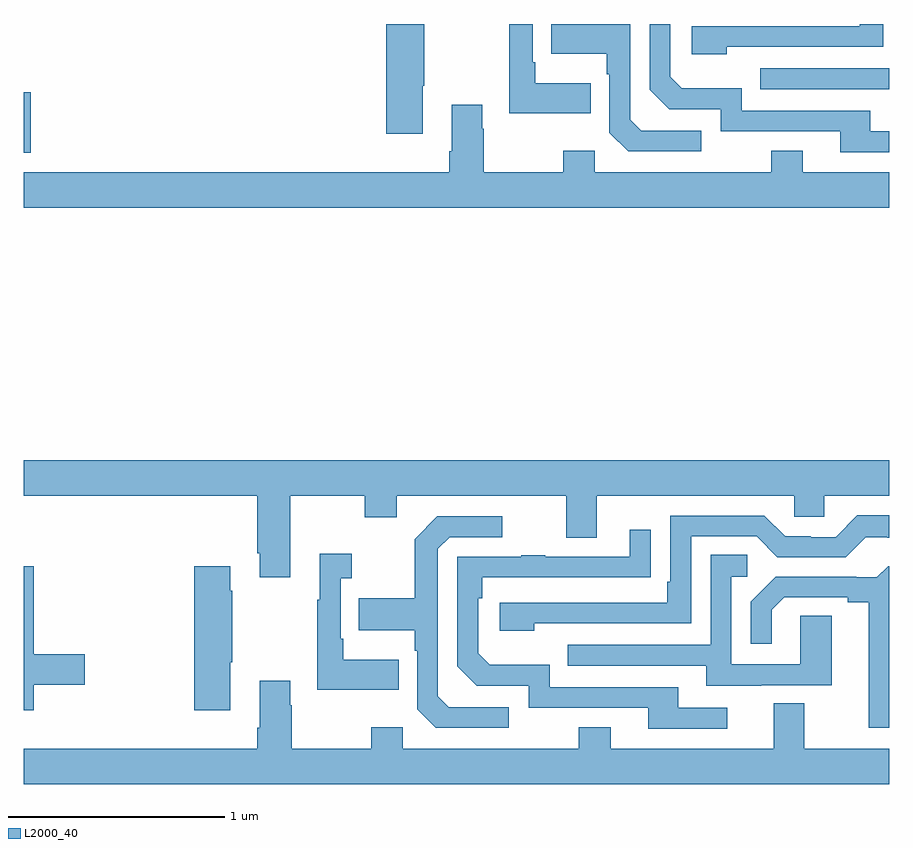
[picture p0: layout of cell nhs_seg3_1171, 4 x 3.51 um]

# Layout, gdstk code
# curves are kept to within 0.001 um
import gdstk
lib = gdstk.Library(unit=1e-6, precision=1e-09)
def R(c, l, rs):  # rectangles x0, y0, x1, y1
    for r in rs: c.add(gdstk.rectangle(r[:2], r[2:], *l))
def P(c, l, *ps):  # polygons
    for p in ps: c.add(gdstk.Polygon(p, *l))
L2000_40 = (2000, 40)

nhs_seg3_1171 = lib.new_cell('nhs_seg3_1171')
R(nhs_seg3_1171, L2000_40, [(171,731.805,171.032,732.084), (174.403,732.099,175,732.195)])
P(nhs_seg3_1171, L2000_40, [(173.621,732.127),(173.365,732.127),(173.365,732.223),(173.352,732.223),(173.352,732.4),(173.244,732.4),(173.244,731.987),(173.621,731.987)],
  [(172.843,732.115),(172.851,732.115),(172.851,732.4),(172.676,732.4),(172.676,731.892),(172.843,731.892)],
  [(175,731.904),(174.913,731.904),(174.913,732),(174.318,732),(174.318,732.103),(174.041,732.103),(173.988,732.156),(173.988,732.4),(173.892,732.4),(173.892,732.096),(173.982,732.006),(174.222,732.006),(174.222,731.904),(174.773,731.904),(174.773,731.808),(175,731.808)],
  [(174.13,731.907),(173.853,731.907),(173.802,731.958),(173.802,732.4),(173.437,732.4),(173.437,732.263),(173.694,732.263),(173.694,732.167),(173.706,732.167),(173.706,731.898),(173.793,731.811),(174.13,731.811)],
  [(174.248,732.294),(174.972,732.294),(174.972,732.4),(174.863,732.4),(174.863,732.39),(174.087,732.39),(174.087,732.26),(174.248,732.26)],
  [(175,731.716),(174.601,731.716),(174.601,731.815),(174.454,731.815),(174.454,731.716),(173.64,731.716),(173.64,731.815),(173.494,731.815),(173.494,731.716),(173.127,731.716),(173.127,731.915),(173.119,731.915),(173.119,732.028),(172.979,732.028),(172.979,731.812),(172.967,731.812),(172.967,731.716),(171,731.716),(171,731.552),(175,731.552)],
  [(172.231,730.22),(172.576,730.22),(172.576,730.121),(172.723,730.121),(172.723,730.22),(173.507,730.22),(173.507,730.026),(173.647,730.026),(173.647,730.22),(174.561,730.22),(174.561,730.122),(174.699,730.122),(174.699,730.22),(175,730.22),(175,730.384),(171,730.384),(171,730.22),(172.079,730.22),(172.079,729.955),(172.091,729.955),(172.091,729.843),(172.231,729.843)],
  [(173.36,729.63),(174.084,729.63),(174.084,730.032),(174.387,730.032),(174.483,729.936),(174.798,729.936),(174.891,730.029),(174.991,730.029),(174.991,730.025),(175,730.025),(175,730.129),(174.853,730.129),(174.753,730.029),(174.638,730.029),(174.638,730.032),(174.519,730.032),(174.423,730.128),(173.988,730.128),(173.988,729.823),(173.975,729.823),(173.975,729.726),(173.199,729.726),(173.199,729.596),(173.36,729.596)],
  [(173.242,729.243),(172.965,729.243),(172.914,729.294),(172.914,729.975),(172.968,730.029),(173.212,730.029),(173.212,730.125),(172.911,730.125),(172.806,730.019),(172.806,729.747),(172.549,729.747),(172.549,729.599),(172.806,729.599),(172.806,729.503),(172.818,729.503),(172.818,729.234),(172.905,729.147),(173.242,729.147)],
  [(174.25,729.24),(174.025,729.24),(174.025,729.336),(173.43,729.336),(173.43,729.439),(173.153,729.439),(173.1,729.492),(173.1,729.746),(173.12,729.746),(173.12,729.843),(173.897,729.844),(173.897,730.063),(173.801,730.063),(173.801,729.939),(173.411,729.939),(173.411,729.944),(173.299,729.944),(173.299,729.939),(173.004,729.939),(173.004,729.432),(173.094,729.342),(173.334,729.342),(173.334,729.24),(173.885,729.24),(173.885,729.144),(174.25,729.144)],
  [(172.733,729.463),(172.477,729.463),(172.477,729.559),(172.464,729.559),(172.464,729.839),(172.516,729.839),(172.516,729.952),(172.367,729.952),(172.367,729.739),(172.356,729.739),(172.356,729.323),(172.733,729.323)],
  [(174.409,729.345),(174.733,729.345),(174.733,729.665),(174.588,729.665),(174.588,729.441),(174.27,729.441),(174.27,729.846),(174.343,729.846),(174.343,729.947),(174.174,729.947),(174.174,729.531),(173.515,729.531),(173.515,729.435),(174.155,729.435),(174.155,729.341),(174.409,729.341)],
  [(171.955,729.451),(171.963,729.451),(171.963,729.782),(171.955,729.782),(171.955,729.895),(171.788,729.895),(171.788,729.228),(171.955,729.228)],
  [(175,729.895),(174.994,729.895),(174.942,729.843),(174.848,729.843),(174.848,729.846),(174.476,729.846),(174.36,729.73),(174.36,729.537),(174.457,729.537),(174.457,729.693),(174.514,729.75),(174.809,729.75),(174.809,729.728),(174.905,729.728),(174.905,729.147),(175,729.147)],
  [(171.047,729.346),(171.283,729.346),(171.283,729.488),(171.047,729.488),(171.047,729.895),(171,729.895),(171,729.228),(171.047,729.228)],
  [(175,729.052),(174.607,729.052),(174.607,729.26),(174.467,729.26),(174.467,729.052),(173.713,729.052),(173.713,729.151),(173.566,729.151),(173.566,729.052),(172.752,729.052),(172.752,729.151),(172.606,729.151),(172.606,729.052),(172.239,729.052),(172.239,729.251),(172.231,729.251),(172.231,729.364),(172.091,729.364),(172.091,729.148),(172.079,729.148),(172.079,729.052),(171,729.052),(171,728.888),(175,728.888)])

lib.write_gds('nhs_seg3_1171.gds')
